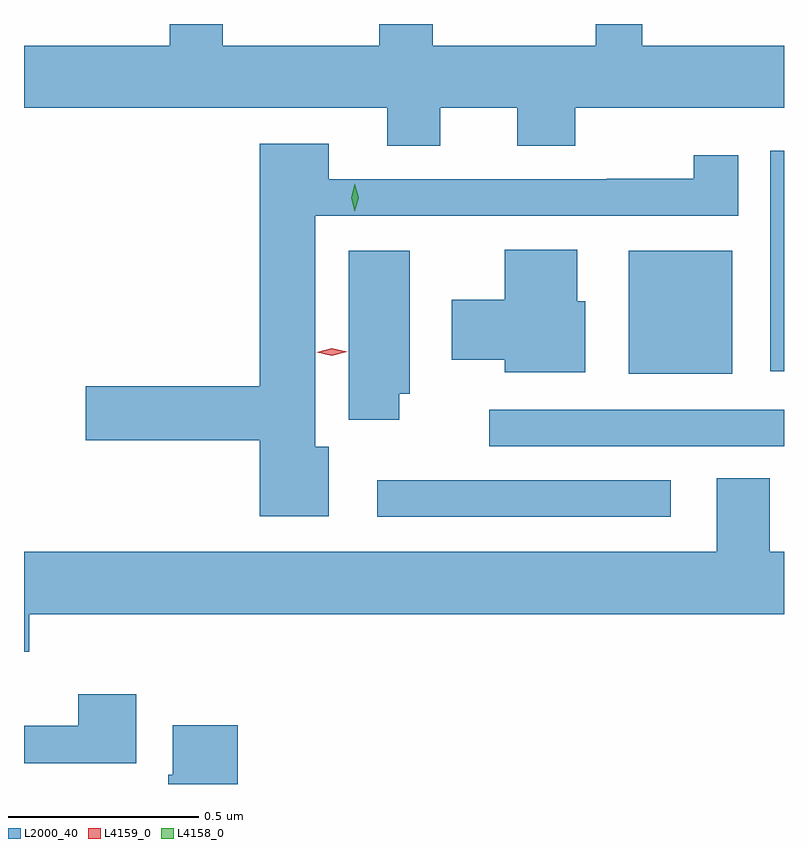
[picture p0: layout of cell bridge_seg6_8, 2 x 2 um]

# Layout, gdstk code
import gdstk
lib = gdstk.Library(unit=1e-6, precision=1e-09)
def R(c, l, rs):  # rectangles x0, y0, x1, y1
    for r in rs: c.add(gdstk.rectangle(r[:2], r[2:], *l))
def P(c, l, *ps):  # polygons
    for p in ps: c.add(gdstk.Polygon(p, *l))
L2000_40 = (2000, 40)
L4158_0 = (4158, 0)
L4159_0 = (4159, 0)

bridge_seg6_8 = lib.new_cell('bridge_seg6_8')
R(bridge_seg6_8, L2000_40, [(973.74,960.912,974.512,961.008), (974.034,961.098,974.81,961.194), (974.402,961.289,974.674,961.612), (974.774,961.295,974.81,961.876)])
P(bridge_seg6_8, L2000_40, [(973.766,961.889),(973.906,961.889),(973.906,961.988),(974.108,961.988),(974.108,961.889),(974.261,961.889),(974.261,961.988),(974.81,961.988),(974.81,962.152),(974.437,962.152),(974.437,962.209),(974.315,962.209),(974.315,962.152),(973.885,962.152),(973.885,962.209),(973.745,962.209),(973.745,962.152),(973.333,962.152),(973.333,962.209),(973.193,962.209),(973.193,962.152),(972.81,962.152),(972.81,961.988),(973.766,961.988)],
  [(973.612,961.096),(973.576,961.096),(973.576,961.704),(974.689,961.704),(974.689,961.864),(974.572,961.864),(974.572,961.802),(974.344,961.802),(974.344,961.8),(973.612,961.8),(973.612,961.894),(973.43,961.894),(973.43,961.256),(972.972,961.256),(972.972,961.114),(973.43,961.114),(973.43,960.914),(973.612,960.914)],
  [(974.287,961.479),(974.266,961.479),(974.266,961.615),(974.075,961.615),(974.075,961.483),(973.935,961.483),(973.935,961.325),(974.075,961.325),(974.075,961.292),(974.287,961.292)],
  [(973.798,961.236),(973.825,961.236),(973.825,961.612),(973.664,961.612),(973.664,961.167),(973.798,961.167)],
  [(972.824,960.656),(974.81,960.656),(974.81,960.82),(974.773,960.82),(974.773,961.013),(974.633,961.013),(974.633,960.82),(972.81,960.82),(972.81,960.557),(972.824,960.557)],
  [(973.105,960.445),(972.953,960.445),(972.953,960.362),(972.81,960.362),(972.81,960.264),(972.869,960.264),(972.869,960.263),(973.105,960.263)],
  [(973.373,960.364),(973.202,960.364),(973.202,960.234),(973.19,960.234),(973.19,960.209),(973.373,960.209)])
P(bridge_seg6_8, L4158_0, [(973.68,961.716),(973.68,961.716),(973.671,961.752),(973.681,961.788),(973.681,961.788),(973.681,961.788),(973.691,961.752),(973.68,961.716)])
P(bridge_seg6_8, L4159_0, [(973.62,961.336),(973.58,961.345),(973.579,961.345),(973.58,961.345),(973.62,961.356),(973.66,961.347),(973.661,961.346),(973.66,961.346)])

lib.write_gds('bridge_seg6_8.gds')
